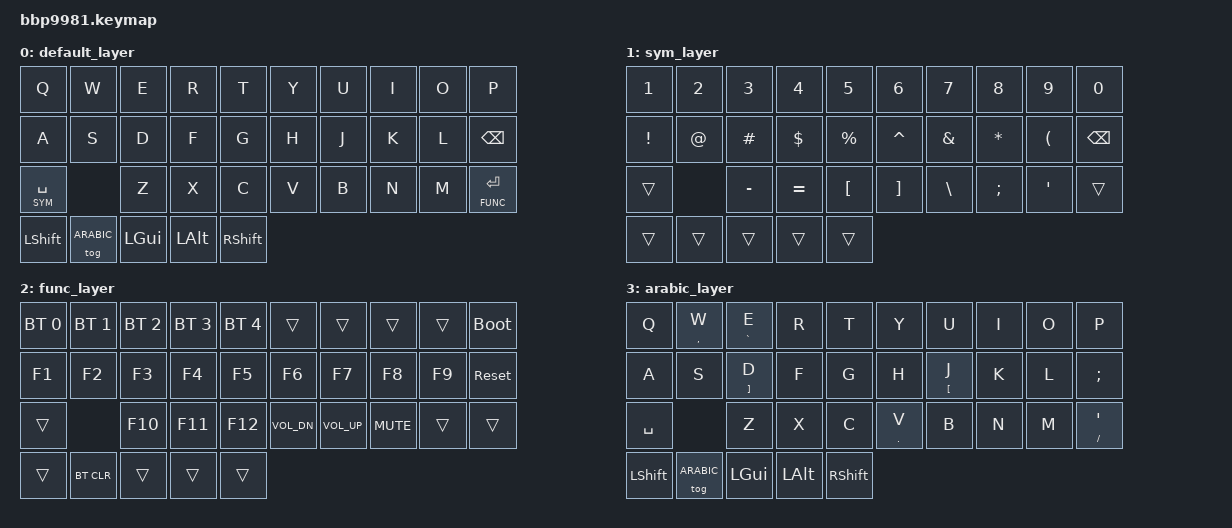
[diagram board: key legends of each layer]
/*
 * P9981 Arabic - Photo Match Edition
 * Based on user uploaded image
 */

#include <behaviors.dtsi>
#include <dt-bindings/zmk/keys.h>
#include <dt-bindings/zmk/bt.h>
#include <dt-bindings/zmk/outputs.h>

#define DEFAULT 0
#define SYM     1
#define FUNC    2
#define ARABIC  3

/ {
    behaviors {
        /*
         * برمجة الأزرار المزدوجة بناءً على الصورة
         * Tap (ضغطة سريعة) = الحرف الكبير الملون
         * Hold (ضغطة مطولة) = الحرف الصغير (أو المخفي)
         */

        // زر D: في الصورة عليه (ي) كبير و (د) صغير
        ar_d: ar_d { compatible = "zmk,behavior-hold-tap"; label = "AR_D"; #binding-cells = <2>; tapping-term-ms = <200>; quick-tap-ms = <0>; flavor = "tap-preferred"; bindings = <&kp>, <&kp>; };

        // زر J: في الصورة عليه (ت) كبير و (ج) صغير
        ar_j: ar_j { compatible = "zmk,behavior-hold-tap"; label = "AR_J"; #binding-cells = <2>; tapping-term-ms = <200>; quick-tap-ms = <0>; flavor = "tap-preferred"; bindings = <&kp>, <&kp>; };

        // زر V: في الصورة عليه (ر) كبير و (ز) صغير
        ar_v: ar_v { compatible = "zmk,behavior-hold-tap"; label = "AR_V"; #binding-cells = <2>; tapping-term-ms = <200>; quick-tap-ms = <0>; flavor = "tap-preferred"; bindings = <&kp>, <&kp>; };

        // زر السماعة ($): في الصورة عليه (ط) كبير و (ظ) صغير
        ar_dol: ar_dol { compatible = "zmk,behavior-hold-tap"; label = "AR_DOL"; #binding-cells = <2>; tapping-term-ms = <200>; quick-tap-ms = <0>; flavor = "tap-preferred"; bindings = <&kp>, <&kp>; };

        // إضافات ذكية للحروف غير المطبوعة (لأنها ضرورية)
        // زر W: عليه (ص) فقط -> المطول يعطيك (و)
        ar_w: ar_w { compatible = "zmk,behavior-hold-tap"; label = "AR_W"; #binding-cells = <2>; tapping-term-ms = <200>; quick-tap-ms = <0>; flavor = "tap-preferred"; bindings = <&kp>, <&kp>; };
        // زر E: عليه (ث) فقط -> المطول يعطيك (ذ)
        ar_e: ar_e { compatible = "zmk,behavior-hold-tap"; label = "AR_E"; #binding-cells = <2>; tapping-term-ms = <200>; quick-tap-ms = <0>; flavor = "tap-preferred"; bindings = <&kp>, <&kp>; };
    };

    keymap {
        compatible = "zmk,keymap";

        /* Layer 0: English (كما هي) */
        default_layer {
            bindings = <
                &kp Q    &kp W    &kp E    &kp R    &kp T    &kp Y    &kp U    &kp I    &kp O    &kp P
                &kp A    &kp S    &kp D    &kp F    &kp G    &kp H    &kp J    &kp K    &kp L    &kp BSPC
                &lt SYM SPACE &kp Z  &kp X  &kp C  &kp V  &kp B  &kp N  &kp M  &lt FUNC ENTER
                &kp LSHFT &tog ARABIC &kp LGUI &kp LALT &kp RSHFT
            >;
        };

        /* Layer 1: Symbols (كما هي) */
        sym_layer {
            bindings = <
                &kp N1   &kp N2   &kp N3   &kp N4   &kp N5   &kp N6   &kp N7   &kp N8   &kp N9   &kp N0
                &kp EXCL &kp AT   &kp HASH &kp DLLR &kp PRCNT &kp CARET &kp AMPS &kp STAR &kp LPAR &kp BSPC
                &trans   &kp MINUS &kp EQUAL &kp LBKT &kp RBKT &kp BSLH &kp SEMI &kp APOS &trans
                &trans   &trans   &trans   &trans   &trans
            >;
        };

        /* Layer 2: Functions (كما هي) */
        func_layer {
            bindings = <
                &bt BT_SEL 0 &bt BT_SEL 1 &bt BT_SEL 2 &bt BT_SEL 3 &bt BT_SEL 4 &trans &trans &trans &trans &bootloader
                &kp F1   &kp F2   &kp F3   &kp F4   &kp F5   &kp F6   &kp F7   &kp F8   &kp F9   &sys_reset
                &trans   &kp F10  &kp F11  &kp F12  &kp C_VOL_DN &kp C_VOL_UP &kp C_MUTE &trans &trans
                &trans   &bt BT_CLR &trans &trans   &trans
            >;
        };

        /* Layer 3: ARABIC (Photo Matched) */
        arabic_layer {
            bindings = <
                /* الصف الأول: Q=ض, W=ص(و), E=ث(ذ), R=ق, T=ف, Y=غ, U=ع, I=هـ, O=خ, P=ح */
                &kp Q        &ar_w COMMA W &ar_e GRAVE E &kp R      &kp T      &kp Y      &kp U      &kp I      &kp O      &kp P
                
                /* الصف الثاني: A=ش, S=س, D=ي(د), F=ب, G=ل, H=ا, J=ت(ج), K=ن, L=م, Del=ك */
                &kp A        &kp S         &ar_d RBKT D  &kp F      &kp G      &kp H      &ar_j LBKT J &kp K    &kp L      &kp SEMI
                
                /* الصف الثالث: Z=ئ, X=ء, C=ؤ, V=ر(ز), B=لا, N=ى, M=ة, Speaker=ط(ظ) */
                &kp SPACE    &kp Z         &kp X         &kp C      &ar_v DOT V &kp B     &kp N      &kp M      &ar_dol FSLH APOS
                
                /* الصف الرابع */
                &kp LSHFT    &tog ARABIC   &kp LGUI      &kp LALT   &kp RSHFT
            >;
        };
    };
};
